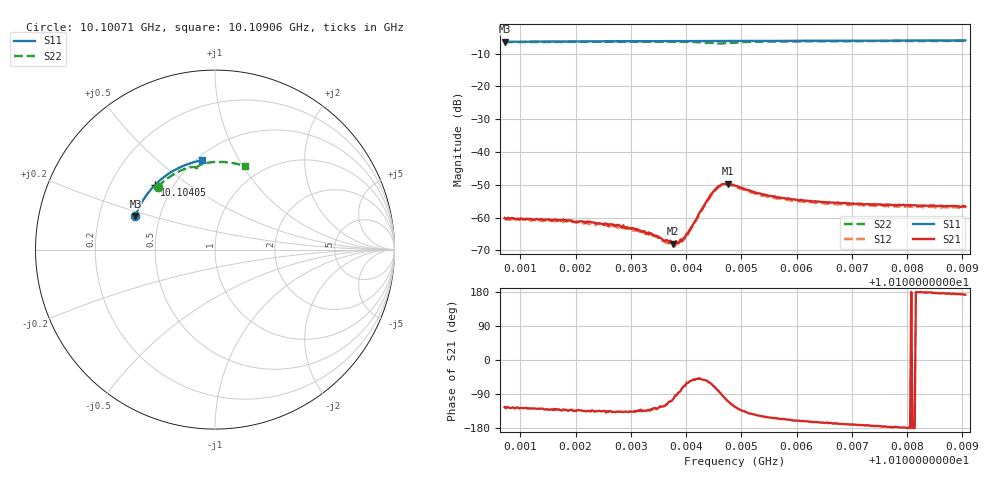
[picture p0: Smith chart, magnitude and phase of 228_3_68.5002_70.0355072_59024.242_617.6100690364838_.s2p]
#  HZ  S  RI  R  50.00
! Rohde & Schwarz Vector Network Analyzer
! Rohde-Schwarz,ZNB20-2Port,1311601062101988,3.16
! Created: UTC 3/20/2024, 4:58:50 PM
! freq[Hz]  re:S11  im:S11  re:S21  im:S21  re:S12  im:S12  re:S22  im:S22
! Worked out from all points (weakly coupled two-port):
!   401 points, 10.10071 GHz to 10.10906 GHz, reference 50 ohm
!   highest |S21| = -49.67 dB at 10.10476 GHz (marker M1); lowest = -67.9 dB at 10.10376 GHz (marker M2)
!   lowest |S11| = -6.4 dB at 10.10071 GHz (marker M3), VSWR 2.85, Z = 18.2 + j8.84 ohm
!   |S11| at or under -10 dB: nowhere
!   |S22| runs from -6.9 to -6.1 dB; largest |S21 - S12| = 0.00032
!   S11 on the Smith chart (normalised r, x): 10.10071 GHz: 0.36, +0.18; 10.10405 GHz: 0.40, +0.37; 10.10906 GHz: 0.54, +0.71
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1.0100715e10  -0.443 0.1873  -0.000556 -0.000819  -0.000463 -0.000812  -0.3188 0.3501
1.0101507e10  -0.4243 0.2319  -0.000621 -0.000712  -0.000528 -0.000751  -0.2807 0.3843
1.0102112e10  -0.4072 0.2644  -0.000606 -0.000631  -0.000507 -0.00065  -0.249 0.4077
1.0102675e10  -0.3889 0.2933  -0.000554 -0.000518  -0.000538 -0.000568  -0.2173 0.427
1.0103071e10  -0.3749 0.3129  -0.000475 -0.000484  -0.000417 -0.000503  -0.1938 0.4391
1.0103509e10  -0.3583 0.3336  -0.000284 -0.000403  -0.000245 -0.000424  -0.1661 0.4507
1.0103593e10  -0.3549 0.3376  -0.000232 -0.000373  -0.000185 -0.000409  -0.1605 0.4526
1.0103759e10  -0.3483 0.3451  -9.85e-05 -0.000388  -5.37e-05 -0.000392  -0.1488 0.4561
1.0103885e10  -0.3431 0.3508  4.7e-05 -0.00044  8.98e-05 -0.000398  -0.1397 0.4582
1.0103947e10  -0.3405 0.3534  0.000159 -0.000452  0.000174 -0.000419  -0.135 0.4589
1.0104051e10  -0.3362 0.358  0.000332 -0.000533  0.000362 -0.000491  -0.1269 0.4597
1.0104343e10  -0.3236 0.3705  0.000966 -0.0013  0.00105 -0.00115  -0.1034 0.4551
1.0104489e10  -0.317 0.3764  0.000938 -0.00229  0.00109 -0.00213  -0.0968 0.4466
1.0104573e10  -0.3134 0.3798  0.000527 -0.00287  0.00073 -0.00274  -0.0977 0.4419
1.0104635e10  -0.3104 0.3823  2.88e-06 -0.00317  0.000264 -0.00302  -0.1004 0.4409
1.010476e10  -0.305 0.3873  -0.00108 -0.0031  -0.000797 -0.00307  -0.1046 0.4458
1.0104886e10  -0.2991 0.3923  -0.00172 -0.00255  -0.00143 -0.00261  -0.1029 0.4548
1.0105261e10  -0.2814 0.4064  -0.00197 -0.00138  -0.00178 -0.00146  -0.0799 0.4731
1.0105574e10  -0.266 0.4175  -0.0019 -0.00096  -0.00171 -0.00107  -0.058 0.4802
1.0106283e10  -0.2299 0.4405  -0.00169 -0.000496  -0.00161 -0.000627  -0.01 0.4875
1.010768e10  -0.153 0.4758  -0.00159 -9.9e-05  -0.00148 -0.000249  0.0806 0.485
1.0109056e10  -0.0726 0.4969  -0.00146 0.000199  -0.00143 3.39e-05  0.1664 0.4655
